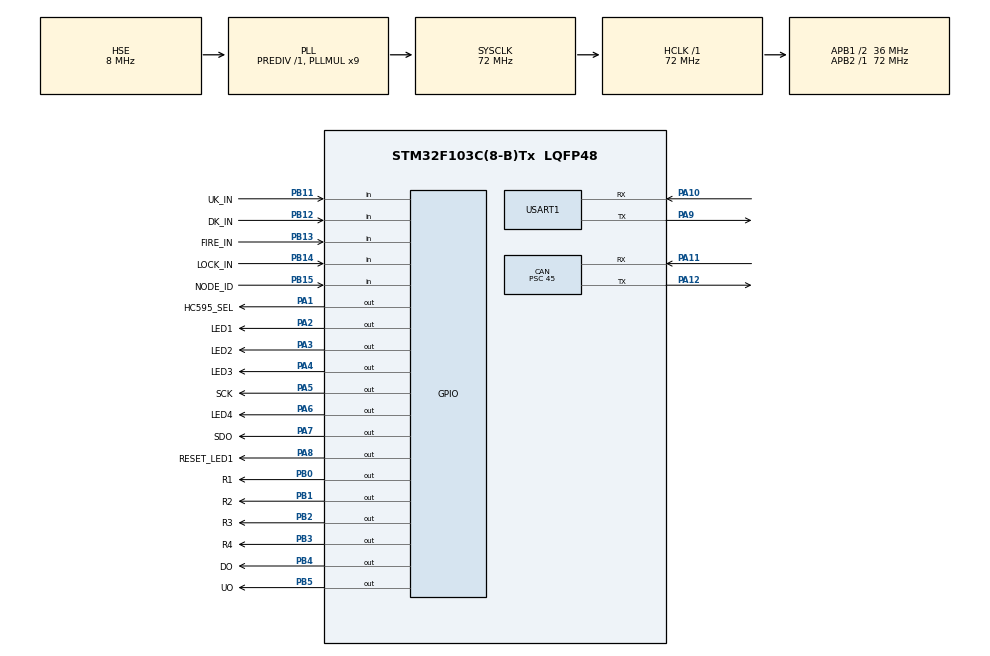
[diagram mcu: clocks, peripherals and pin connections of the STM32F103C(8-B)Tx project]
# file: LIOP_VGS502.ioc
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CAN.BS1=CAN_BS1_13TQ
CAN.BS2=CAN_BS2_2TQ
CAN.CalculateBaudRate=50000
CAN.CalculateTimeBit=20000
CAN.CalculateTimeQuantum=1250.0
CAN.Prescaler=45
IWDG.Prescaler=IWDG_PRESCALER_64
Mcu.Family=STM32F1
Mcu.Name=STM32F103C(8-B)Tx
Mcu.Package=LQFP48
NVIC.CAN1_RX1_IRQn=true\:0\:0\:false\:false\:true\:true\:true\:true
NVIC.CAN1_SCE_IRQn=true\:0\:0\:false\:false\:true\:true\:true\:true
NVIC.PriorityGroup=NVIC_PRIORITYGROUP_4
NVIC.TIM2_IRQn=true\:0\:0\:false\:false\:true\:true\:true\:true
NVIC.TIM3_IRQn=true\:0\:0\:false\:false\:true\:true\:true\:true
NVIC.TIM4_IRQn=true\:0\:0\:false\:false\:true\:true\:true\:true
NVIC.USB_HP_CAN1_TX_IRQn=true\:0\:0\:false\:false\:true\:true\:true\:true
NVIC.USB_LP_CAN1_RX0_IRQn=true\:0\:0\:false\:false\:true\:true\:true\:true
PA1.GPIO_Label=HC595_SEL
PA1.PinState=GPIO_PIN_SET
PA1.Signal=GPIO_Output
PA10.Mode=Asynchronous
PA10.Signal=USART1_RX
PA11.Mode=CAN_Activate
PA11.Signal=CAN_RX
PA12.Mode=CAN_Activate
PA12.Signal=CAN_TX
PA13.Mode=Serial_Wire
PA13.Signal=SYS_JTMS-SWDIO
PA14.Mode=Serial_Wire
PA14.Signal=SYS_JTCK-SWCLK
PA2.GPIO_Label=LED1
PA2.Signal=GPIO_Output
PA3.GPIO_Label=LED2
PA3.Signal=GPIO_Output
PA4.GPIO_Label=LED3
PA4.Signal=GPIO_Output
PA5.GPIO_Label=SCK
PA5.Signal=GPIO_Output
PA6.GPIO_Label=LED4
PA6.Signal=GPIO_Output
PA7.GPIO_Label=SDO
PA7.Signal=GPIO_Output
PA8.GPIO_Label=RESET_LED1
PA8.PinState=GPIO_PIN_SET
PA8.Signal=GPIO_Output
PA9.Mode=Asynchronous
PA9.Signal=USART1_TX
PB0.GPIO_Label=R1
PB0.Signal=GPIO_Output
PB1.GPIO_Label=R2
PB1.Signal=GPIO_Output
PB11.GPIO_Label=UK_IN
PB11.Signal=GPIO_Input
PB12.GPIO_Label=DK_IN
PB12.Signal=GPIO_Input
PB13.GPIO_Label=FIRE_IN
PB13.Signal=GPIO_Input
PB14.GPIO_Label=LOCK_IN
PB14.Signal=GPIO_Input
PB15.GPIO_Label=NODE_ID
PB15.Signal=GPIO_Input
PB2.GPIO_Label=R3
PB2.Signal=GPIO_Output
PB3.GPIO_Label=R4
PB3.Signal=GPIO_Output
PB4.GPIO_Label=DO
PB4.Signal=GPIO_Output
PB5.GPIO_Label=UO
PB5.Signal=GPIO_Output
PD0-OSC_IN.Mode=HSE-External-Oscillator
PD0-OSC_IN.Signal=RCC_OSC_IN
PD1-OSC_OUT.Mode=HSE-External-Oscillator
PD1-OSC_OUT.Signal=RCC_OSC_OUT
ProjectManager.HeapSize=0x200
ProjectManager.StackSize=0x400
ProjectManager.TargetToolchain=MDK-ARM V5.32
RCC.AHBFreq_Value=72000000
RCC.APB1CLKDivider=RCC_HCLK_DIV2
RCC.APB1Freq_Value=36000000
RCC.APB1TimFreq_Value=72000000
RCC.APB2Freq_Value=72000000
RCC.APB2TimFreq_Value=72000000
RCC.HCLKFreq_Value=72000000
RCC.PLLMUL=RCC_PLL_MUL9
RCC.PLLSourceVirtual=RCC_PLLSOURCE_HSE
RCC.SYSCLKFreq_VALUE=72000000
RCC.SYSCLKSource=RCC_SYSCLKSOURCE_PLLCLK
RCC.USBFreq_Value=72000000
TIM2.Period=4999
TIM2.Prescaler=7199
TIM3.Period=29
TIM3.Prescaler=7199
TIM4.Period=19
TIM4.Prescaler=7199
USART1.VirtualMode=VM_ASYNC
VP_IWDG_VS_IWDG.Mode=IWDG_Activate
VP_TIM2_VS_ClockSourceINT.Mode=Internal
VP_TIM3_VS_ClockSourceINT.Mode=Internal
VP_TIM4_VS_ClockSourceINT.Mode=Internal
board=custom

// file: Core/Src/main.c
/* USER CODE BEGIN Header */
/**
 ******************************************************************************
 * @file           : main.c
 * @brief          : Main program body
 ******************************************************************************
 * @attention
 *
 * Copyright (c) 2022 STMicroelectronics.
 * All rights reserved.
 *
 * This software is licensed under terms that can be found in the LICENSE file
 * in the root directory of this software component.
 * If no LICENSE file comes with this software, it is provided AS-IS.
 *
 ******************************************************************************
 */
/* USER CODE END Header */
//#include "main.h"

/* USER CODE BEGIN Includes */
#define _MAIN_C_
#include "main.h"

/* USER CODE END Includes */

/* USER CODE BEGIN PTD */
#define USER_DEBUG 0
/* USER CODE END PTD */

/* USER CODE BEGIN PD */
//
/* USER CODE END PD */

 CAN_HandleTypeDef hcan;

IWDG_HandleTypeDef hiwdg;

TIM_HandleTypeDef htim2;
TIM_HandleTypeDef htim3;
TIM_HandleTypeDef htim4;

UART_HandleTypeDef huart1;

void SystemClock_Config(void);
static void MX_GPIO_Init(void);
static void MX_CAN_Init(void);
static void MX_TIM2_Init(void);
static void MX_TIM3_Init(void);
static void MX_TIM4_Init(void);
static void MX_IWDG_Init(void);
static void MX_USART1_UART_Init(void);
/* USER CODE BEGIN PFP */
void ClrWdt(void);
/* USER CODE END PFP */

/* USER CODE BEGIN 0 */

void ClrWdt(void)
{
#if !USER_DEBUG
  HAL_IWDG_Refresh(&hiwdg);

#endif
}

void check_hse(uint8_t mode)
{
  uint8_t help;
  uint8_t i;
  help = 0;

  if (!hsetime) /* 5s no heartbeat from HSE				*/
  {
    help = 1;                             /* set marker							*/
    hsetime = HSETIME;                    /* restart HSE heartbeat timer			*/
    if ((!setid_mode) && (!mSwitch_code)) /* display is for this lift				*/
    {
      // PIE1bits.TMR1IE = 0;           /* disable Timer 2 interrupt			*/
      // HAL_TIM_Base_Stop_IT(&htim4);
      display[BUF_ARROW] = NO_ARROW; /* display no arrow						*/
      display[BUF_TEN] = CHAR_N;     /* display sign for out of work			*/
      display[BUF_UNIT] = CHAR_C;
      // PIE1bits.TMR1IE = 1; /* enable Timer 2 interrupt				*/
      // HAL_TIM_Base_Start_IT(&htim4);

      if (hardware_version == VGS_502)
        arrowflash = 0x01;
      else
        arrowflash = 0x00;
      flashcontent = display[BUF_ARROW];
    }
    hse_heartbeat = 0;
  }
  if (help && mode) /* one or more HSE not available		*/
  {
    for (i = 0; i < MAX_IO; i++) /* check all call indications			*/
    {
      if (check_for_call(outpar[i][IO_BASIC_FUNC]))
      { /* output is call acknowledgement		*/
        outpar[i][IO_ACK] &= ~help;
        if (!outpar[i][IO_ACK]) /* all acknowledgements cancelled		*/
        {
          bit_reset(out, i); /* clear output							*/
          outpar[i][IO_STATE] = 0;
        }
      }
      else /* all other output functions			*/
      {
        if (outpar[i][IO_LIFT] & help) /* output for this lift					*/
        {
          if ((outpar[i][IO_BASIC_FUNC] == SPECIAL_FUNC) &&
              (outpar[i][IO_SUB_FUNC] == OUT_OF_ORDER))
          {
            bit_set(out, i); /* set physical output					*/
            outpar[i][IO_STATE] = 1;
          }
          else
          {
            bit_reset(out, i); /* reset physical output				*/
            outpar[i][IO_STATE] = 0;
          }
        }
      }
    }
  }
}

void init_userpara(void)
{
  uint8_t i;

  display[BUF_ARROW] = NO_ARROW;
  display[BUF_TEN] = 14;
  display[BUF_UNIT] = 15;
  display[BUF_MESSAGE] = 0;
	floorDisplay[BUF_TEN]  = 45;
	floorDisplay[BUF_UNIT] = 45;
  heartbeat = HEARTBEATTIME;
  display_timer = 0;
  keytimer = 0;
  hsetime = HSETIME; /* start timer with different times 	*/
  nmtwait = 0;
  hsecheck = 0; /* no HSE check now 					*/
  setid_mode = 0;
  setid_mode_old = 0; // set liop can ID mode

  arrowtype = 0;
  if (hardware_version == VGS_502)
    arrowflash = 0x01;
  else
    arrowflash = 0x00;
  flashcontent = NO_ARROW;

  disp_lift = 1;
  device_type = MULTIPLE_DEVICES;
  virtual_device[0] = INPUT_PANEL_UNIT >> 16;
  virtual_device[1] = OUTPUT_PANEL_UNIT >> 16;

  inpush = 0;
  outpush = 0;
  backlight_mode = 0;

  for (i = 0; i < MAX_IO; i++)
  {
    inpar[i][IO_STATE] = 0;
    outpar[i][IO_STATE] = 0;
    inpar[i][IO_BASIC_FUNC] = 0;
    outpar[i][IO_BASIC_FUNC] = 0;
    outpar[i][IO_ACK] = 0;
  }
  for (i = 0; i < MAX_IO_TYPE; i++)
  {
    virt_in[i] = 0;
    virt_out[i] = 0;
  }
  in_polarity = 0;
  out_polarity = 0;

  out = 0;
  // in = PORTC & 0x0F;
  in = (uint8_t)(GPIOB->IDR >> 11) & 0x0F;
  input[0] = in;
  input[1] = in;
  input[2] = in;
  inold = 0;
}
/* USER CODE END 0 */

int main(void)
{
  /* USER CODE BEGIN 1 */
  uint8_t i, j;
  uint8_t instate;
  uint8_t help;

  /* USER CODE END 1 */

  /* MCU Configuration--------------------------------------------------------*/

  /* Reset of all peripherals, Initializes the Flash interface and the Systick. */
  HAL_Init();

  /* Configure the system clock */
  SystemClock_Config();

  /* Initialize all configured peripherals */
  MX_GPIO_Init();
  MX_CAN_Init();
  MX_TIM2_Init();
  MX_TIM3_Init();
  MX_TIM4_Init();
  MX_IWDG_Init();
  MX_USART1_UART_Init();
  /* USER CODE BEGIN 2 */
  ClrWdt(); // reset watchdog timer
  HAL_GPIO_WritePin(R1_GPIO_Port, R1_Pin, GPIO_PIN_RESET);
  HAL_GPIO_WritePin(R2_GPIO_Port, R2_Pin, GPIO_PIN_RESET);
  HAL_GPIO_WritePin(R3_GPIO_Port, R3_Pin, GPIO_PIN_RESET);
  HAL_GPIO_WritePin(R4_GPIO_Port, R4_Pin, GPIO_PIN_RESET);

  HAL_GPIO_WritePin(RESET_LED1_GPIO_Port, RESET_LED1_Pin, GPIO_PIN_SET);
  //HAL_GPIO_WritePin(RESET_LED2_GPIO_Port, RESET_LED2_Pin, GPIO_PIN_SET);
  HAL_TIM_Base_Start_IT(&htim2);
  HAL_TIM_Base_Start_IT(&htim3);
  HAL_TIM_Base_Start_IT(&htim4);
  /*-------------gtech ---------------*/
  if (merker == RC_MERKER)
  {
    errorregister |= ER_COMMUNICATION;
  }
  if (merker == BS_MERKER)
  {
    errorregister |= ER_COMMUNICATION;
  }
  merker = WD_MERKER;
  ClrWdt();
  hardware_version = VGS_502;

  // node_id = read_eeprom(EE_NODEID_ADDR);
  //node_id = 0x10;
	Flash_Read_Bytes(&node_id, DATA_START_ADDRESS, 1);

  disp_lift = LIFT1;
  if ((node_id > 127) || (!node_id))
    node_id = ESE_ID;
  ClrWdt();
  nmtstate = BOOT_UP;
  //nmtwait = node_id;
  preset_node_id = node_id; //�洢֮ǰ��ID
  // nmtwait = (nmtwait * 20 + 1000) / 3 + 600;
  // if (node_id == ESE_ID)
  //   nmtwait = 1000 / 3 + 600;

  init_userpara();

  ClrWdt();

  // while (nmtwait)
  //   ClrWdt();
  Init_Can();
  HAL_Delay(5);
  heartbeat = HEARTBEATTIME;
  //initImage();
  nmtstate = PRE_OP;
  while (nmtstate == PRE_OP)
  { //�ȴ������������ָ��
    ClrWdt();
    if (rc)      // Message in receive buffer
      read_rx(); // read and handle message
    if (sdo_index && !sdo_timer)
    { // SDO segment transfer time out
      sdo_index = 0;
      abort_sdo(SDO_TIMEOUT); // send SDO abort request
    }

    if (hsecheck)
    { // HSE heartbeat check necessary
      hsecheck = false;
      check_hse(0); // check if a HSE is not available
    }
    if ((!heartbeat) && (hse_heartbeat) && (!can_inittime)) // time to send heartbeat message
    {
      heartbeat = HEARTBEATTIME;
      sent_heartbeat();
    }

    if (errorcode)
    {                    // error occured
      transmit_error();  // send emergency message
      errorregister = 0; // reset error
      errorcode = 0;
    }
    if ((merker == BS_MERKER) && (!can_inittime))
    {
      Init_Can();
      errorregister |= ER_COMMUNICATION; // set error bits
      errorcode = E_BUS_OFF_A;           // set error code
      merker = 0;
    }
    if (nmtstate == TEST_MODE)
    {
      // test_mode();
    }
  }

  i = 0;
  j = 0;

  hsetime = HSETIME; /* start timer with different times		*/
  hsecheck = 0;      /* no HSE check now						*/
  ClrWdt();          /* reset watchdog timer					*/
  inold = 0;
  set_io_config();

  /* USER CODE END 2 */

  /* Infinite loop */
  while (1)
  {

    /* USER CODE BEGIN 3 */
    ClrWdt(); /* reset watchdog timer					*/
    if (rc)
    {
      read_rx();
    }
    // #if 0

    if (bTime.dwin_100ms)
    {
      DWIN_Arrow_Process();
      bTime.dwin_100ms = 0;
    }
    if (bTime.Time_1s)
    {
      Dwin_update_time();
      bTime.Time_1s = 0;
    }
    if (bTime.dwin_500ms)
    {
			DWIN_Message_Process();

      Dwin_Change_Current_FloorName(floorDisplay);
      bTime.dwin_500ms = 0;
    }
     if(bTime.Time_10s)
		{
      Dwin_switch_to_next_page();
      bTime.Time_10s = 0;
    }
    if (display_scantimer)
    {
      KeyScan();
      KeyProg(mKeyValue);
      if (setid_mode)
        SetNodeId();
      else if ((nmtstate == TEST_MODE) || ((mSwitch_code == 1) && (com_can_work > 10))) /* enter test mode						*/
        TestMode();
      display_scantimer = 0;
    }
    if ((!heartbeat) && (hse_heartbeat) && (!can_inittime) && (!setid_mode)) /* time to send heartbeat message		*/
    {
      heartbeat = HEARTBEATTIME; /* restart heartbeat timer				*/
      sent_heartbeat();
    }
    if (hsecheck) /* HSE heartbeat check necessary		*/
    {
      hsecheck = 0;
      check_hse(1); /* check if a HSE is not available		*/
    }
    if (nmtstate == PRE_OP)
    {
      instate = in ^ in_polarity;                    /* read input state; invert if desired	*/
      for (i = 0; i < MAX_IO; i++)                   /* check all inputs						*/
        inpar[i][IO_STATE] = bit_select(instate, i); /* set input state						*/
    }
    if (nmtstate == OPERATIONAL)
    {
      instate = in ^ in_polarity; /* read input state; invert if desired	*/
      if (instate != inold)       /* input state changed					*/
      {
        for (i = 0; i < MAX_IO; i++) /* check all inputs 					*/
        {
          help = bit_select(instate, i);
          if (help != bit_select(inold, i)) /* input has changed					*/
          {
            inpar[i][IO_STATE] = help;   /* set input state						*/
            if (inpar[i][IO_BASIC_FUNC]) /* input has a function 				*/
            {
              for (j = 0; j < MAX_IO_TYPE; j++) /* write input to virtual input object	*/
                virt_in[j] = inpar[i][j];

              switch (inpar[i][IO_BASIC_FUNC])
              {
              case (CAR_CALL): /* standard car call					*/
                if (help)
                  transmit_in(virt_in);
                break;
              case (HALL_CALL): /* standard hall call 				*/
                if (!setid_mode)
                { /* landing call misuse					*/
                  if ((bTime.Time_100ms) || (inpar[i][IO_FLOOR] != landingcallfloor))
                  //if ((!landingcalltimer) || (inpar[i][IO_FLOOR] != landingcallfloor))
                  {
                    transmit_in(virt_in);
                  }
									//landingcalltimer = 1;
                  bTime.Time_100ms = 0;
                  landingcallfloor = inpar[i][IO_FLOOR];
                }
                break;

              default:
                transmit_in(virt_in);
                break;
              }
            }
          }
        }
        inold = instate;
      }
    }
    //#endif
  }
  /* USER CODE END 3 */
}

void SystemClock_Config(void)
{
  RCC_OscInitTypeDef RCC_OscInitStruct = {0};
  RCC_ClkInitTypeDef RCC_ClkInitStruct = {0};

  /** Initializes the RCC Oscillators according to the specified parameters
  * in the RCC_OscInitTypeDef structure.
  */
  RCC_OscInitStruct.OscillatorType = RCC_OSCILLATORTYPE_LSI|RCC_OSCILLATORTYPE_HSE;
  RCC_OscInitStruct.HSEState = RCC_HSE_ON;
  RCC_OscInitStruct.HSEPredivValue = RCC_HSE_PREDIV_DIV1;
  RCC_OscInitStruct.HSIState = RCC_HSI_ON;
  RCC_OscInitStruct.LSIState = RCC_LSI_ON;
  RCC_OscInitStruct.PLL.PLLState = RCC_PLL_ON;
  RCC_OscInitStruct.PLL.PLLSource = RCC_PLLSOURCE_HSE;
  RCC_OscInitStruct.PLL.PLLMUL = RCC_PLL_MUL9;
  if (HAL_RCC_OscConfig(&RCC_OscInitStruct) != HAL_OK)
  {
    Error_Handler();
  }

  /** Initializes the CPU, AHB and APB buses clocks
  */
  RCC_ClkInitStruct.ClockType = RCC_CLOCKTYPE_HCLK|RCC_CLOCKTYPE_SYSCLK
                              |RCC_CLOCKTYPE_PCLK1|RCC_CLOCKTYPE_PCLK2;
  RCC_ClkInitStruct.SYSCLKSource = RCC_SYSCLKSOURCE_PLLCLK;
  RCC_ClkInitStruct.AHBCLKDivider = RCC_SYSCLK_DIV1;
  RCC_ClkInitStruct.APB1CLKDivider = RCC_HCLK_DIV2;
  RCC_ClkInitStruct.APB2CLKDivider = RCC_HCLK_DIV1;

  if (HAL_RCC_ClockConfig(&RCC_ClkInitStruct, FLASH_LATENCY_2) != HAL_OK)
  {
    Error_Handler();
  }
}

static void MX_CAN_Init(void)
{

  hcan.Instance = CAN1;
  hcan.Init.Prescaler = 45;
  hcan.Init.Mode = CAN_MODE_NORMAL;
  hcan.Init.SyncJumpWidth = CAN_SJW_1TQ;
  hcan.Init.TimeSeg1 = CAN_BS1_13TQ;
  hcan.Init.TimeSeg2 = CAN_BS2_2TQ;
  hcan.Init.TimeTriggeredMode = DISABLE;
  hcan.Init.AutoBusOff = DISABLE;
  hcan.Init.AutoWakeUp = DISABLE;
  hcan.Init.AutoRetransmission = DISABLE;
  hcan.Init.ReceiveFifoLocked = DISABLE;
  hcan.Init.TransmitFifoPriority = DISABLE;
  if (HAL_CAN_Init(&hcan) != HAL_OK)
  {
    Error_Handler();
  }

}

static void MX_IWDG_Init(void)
{

  hiwdg.Instance = IWDG;
  hiwdg.Init.Prescaler = IWDG_PRESCALER_64;
  hiwdg.Init.Reload = 4095;
  if (HAL_IWDG_Init(&hiwdg) != HAL_OK)
  {
    Error_Handler();
  }

}

static void MX_TIM2_Init(void)
{

  TIM_ClockConfigTypeDef sClockSourceConfig = {0};
  TIM_MasterConfigTypeDef sMasterConfig = {0};

  htim2.Instance = TIM2;
  htim2.Init.Prescaler = 7199;
  htim2.Init.CounterMode = TIM_COUNTERMODE_UP;
  htim2.Init.Period = 4999;
  htim2.Init.ClockDivision = TIM_CLOCKDIVISION_DIV1;
  htim2.Init.AutoReloadPreload = TIM_AUTORELOAD_PRELOAD_DISABLE;
  if (HAL_TIM_Base_Init(&htim2) != HAL_OK)
  {
    Error_Handler();
  }
  sClockSourceConfig.ClockSource = TIM_CLOCKSOURCE_INTERNAL;
  if (HAL_TIM_ConfigClockSource(&htim2, &sClockSourceConfig) != HAL_OK)
  {
    Error_Handler();
  }
  sMasterConfig.MasterOutputTrigger = TIM_TRGO_RESET;
  sMasterConfig.MasterSlaveMode = TIM_MASTERSLAVEMODE_DISABLE;
  if (HAL_TIMEx_MasterConfigSynchronization(&htim2, &sMasterConfig) != HAL_OK)
  {
    Error_Handler();
  }

}

static void MX_TIM3_Init(void)
{

  TIM_ClockConfigTypeDef sClockSourceConfig = {0};
  TIM_MasterConfigTypeDef sMasterConfig = {0};

  htim3.Instance = TIM3;
  htim3.Init.Prescaler = 7199;
  htim3.Init.CounterMode = TIM_COUNTERMODE_UP;
  htim3.Init.Period = 29;
  htim3.Init.ClockDivision = TIM_CLOCKDIVISION_DIV1;
  htim3.Init.AutoReloadPreload = TIM_AUTORELOAD_PRELOAD_DISABLE;
  if (HAL_TIM_Base_Init(&htim3) != HAL_OK)
  {
    Error_Handler();
  }
  sClockSourceConfig.ClockSource = TIM_CLOCKSOURCE_INTERNAL;
  if (HAL_TIM_ConfigClockSource(&htim3, &sClockSourceConfig) != HAL_OK)
  {
    Error_Handler();
  }
  sMasterConfig.MasterOutputTrigger = TIM_TRGO_RESET;
  sMasterConfig.MasterSlaveMode = TIM_MASTERSLAVEMODE_DISABLE;
  if (HAL_TIMEx_MasterConfigSynchronization(&htim3, &sMasterConfig) != HAL_OK)
  {
    Error_Handler();
  }

}

static void MX_TIM4_Init(void)
{

  TIM_ClockConfigTypeDef sClockSourceConfig = {0};
  TIM_MasterConfigTypeDef sMasterConfig = {0};

  htim4.Instance = TIM4;
  htim4.Init.Prescaler = 7199;
  htim4.Init.CounterMode = TIM_COUNTERMODE_UP;
  htim4.Init.Period = 19;
  htim4.Init.ClockDivision = TIM_CLOCKDIVISION_DIV1;
  htim4.Init.AutoReloadPreload = TIM_AUTORELOAD_PRELOAD_DISABLE;
  if (HAL_TIM_Base_Init(&htim4) != HAL_OK)
  {
    Error_Handler();
  }
  sClockSourceConfig.ClockSource = TIM_CLOCKSOURCE_INTERNAL;
  if (HAL_TIM_ConfigClockSource(&htim4, &sClockSourceConfig) != HAL_OK)
  {
    Error_Handler();
  }
  sMasterConfig.MasterOutputTrigger = TIM_TRGO_RESET;
  sMasterConfig.MasterSlaveMode = TIM_MASTERSLAVEMODE_DISABLE;
  if (HAL_TIMEx_MasterConfigSynchronization(&htim4, &sMasterConfig) != HAL_OK)
  {
    Error_Handler();
  }

}

static void MX_USART1_UART_Init(void)
{

  huart1.Instance = USART1;
  huart1.Init.BaudRate = 115200;
  huart1.Init.WordLength = UART_WORDLENGTH_8B;
  huart1.Init.StopBits = UART_STOPBITS_1;
  huart1.Init.Parity = UART_PARITY_NONE;
  huart1.Init.Mode = UART_MODE_TX_RX;
  huart1.Init.HwFlowCtl = UART_HWCONTROL_NONE;
  huart1.Init.OverSampling = UART_OVERSAMPLING_16;
  if (HAL_UART_Init(&huart1) != HAL_OK)
  {
    Error_Handler();
  }

}

static void MX_GPIO_Init(void)
{
  GPIO_InitTypeDef GPIO_InitStruct = {0};

  /* GPIO Ports Clock Enable */
  __HAL_RCC_GPIOD_CLK_ENABLE();
  __HAL_RCC_GPIOA_CLK_ENABLE();
  __HAL_RCC_GPIOB_CLK_ENABLE();

  /*Configure GPIO pin Output Level */
  HAL_GPIO_WritePin(GPIOA, HC595_SEL_Pin|RESET_LED1_Pin, GPIO_PIN_SET);

  /*Configure GPIO pin Output Level */
  HAL_GPIO_WritePin(GPIOA, LED1_Pin|LED2_Pin|LED3_Pin|SCK_Pin
                          |LED4_Pin|SDO_Pin, GPIO_PIN_RESET);

  /*Configure GPIO pin Output Level */
  HAL_GPIO_WritePin(GPIOB, R1_Pin|R2_Pin|R3_Pin|R4_Pin
                          |DO_Pin|UO_Pin, GPIO_PIN_RESET);

  /*Configure GPIO pins : HC595_SEL_Pin LED1_Pin LED2_Pin LED3_Pin
                           SCK_Pin LED4_Pin SDO_Pin RESET_LED1_Pin */
  GPIO_InitStruct.Pin = HC595_SEL_Pin|LED1_Pin|LED2_Pin|LED3_Pin
                          |SCK_Pin|LED4_Pin|SDO_Pin|RESET_LED1_Pin;
  GPIO_InitStruct.Mode = GPIO_MODE_OUTPUT_PP;
  GPIO_InitStruct.Pull = GPIO_NOPULL;
  GPIO_InitStruct.Speed = GPIO_SPEED_FREQ_LOW;
  HAL_GPIO_Init(GPIOA, &GPIO_InitStruct);

  /*Configure GPIO pins : R1_Pin R2_Pin R3_Pin R4_Pin
                           DO_Pin UO_Pin */
  GPIO_InitStruct.Pin = R1_Pin|R2_Pin|R3_Pin|R4_Pin
                          |DO_Pin|UO_Pin;
  GPIO_InitStruct.Mode = GPIO_MODE_OUTPUT_PP;
  GPIO_InitStruct.Pull = GPIO_NOPULL;
  GPIO_InitStruct.Speed = GPIO_SPEED_FREQ_LOW;
  HAL_GPIO_Init(GPIOB, &GPIO_InitStruct);

  /*Configure GPIO pins : UK_IN_Pin DK_IN_Pin FIRE_IN_Pin LOCK_IN_Pin
                           NODE_ID_Pin */
  GPIO_InitStruct.Pin = UK_IN_Pin|DK_IN_Pin|FIRE_IN_Pin|LOCK_IN_Pin
                          |NODE_ID_Pin;
  GPIO_InitStruct.Mode = GPIO_MODE_INPUT;
  GPIO_InitStruct.Pull = GPIO_NOPULL;
  HAL_GPIO_Init(GPIOB, &GPIO_InitStruct);

}

void Error_Handler(void)
{
  __disable_irq();
  while (1)
  {
  }
}
